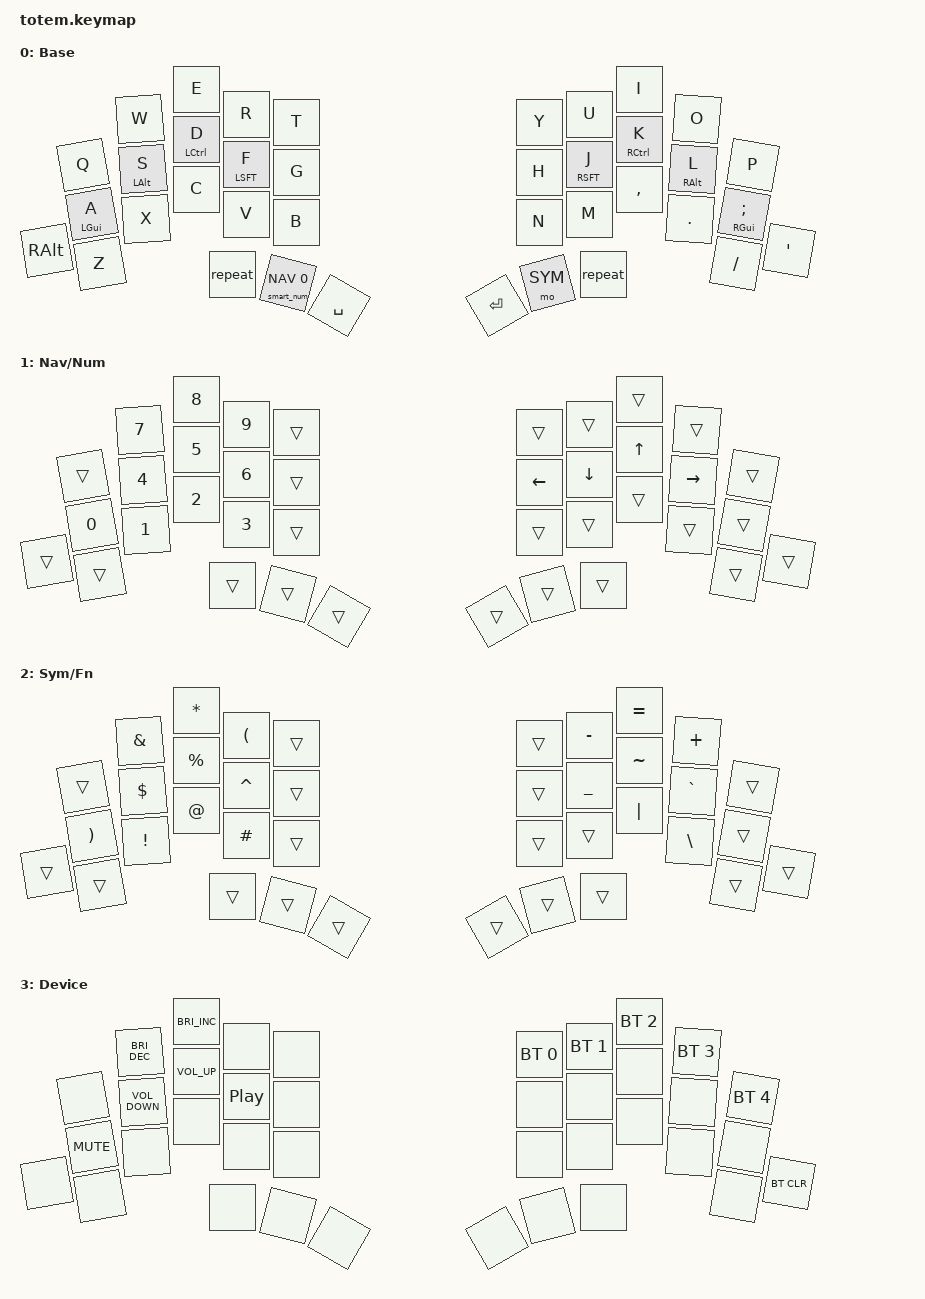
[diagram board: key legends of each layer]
//
//                                                        ▀▀▀▀▀     ▀▀▀▀▀          ▀▀█▀▀
//                                                        ▄▀▀▀▄  ▄  ▄▀▀▀▄  ▄  ▄▀▀▀▄  █  ▄▀▀▀▄
//                                                        █   █  █  █   █  █  █   █  █  █   █
//                                                         ▀▀▀   █   ▀▀▀   █   ▀▀▀   ▀   ▀▀▀
//                                                               █      ▄▄▄█▄▄▄    █   █
//                                                               ▀      █  █  █     █▄█
//                                                             ▀▀▀▀▀    █  █  █      ▀
//                                                                      ▀  ▀  ▀
//
// ▄▄▄▄▄▄▄▄▄▄▄▄▄▄▄▄▄▄▄▄▄▄▄▄▄▄▄▄▄▄▄▄▄▄▄▄▄▄▄▄▄▄▄▄▄▄▄▄▄▄▄▄▄▄▄▄▄▄▄▄▄▄▄▄▄▄▄▄▄▄▄▄▄▄▄▄▄▄▄▄▄▄▄▄▄▄▄▄▄▄▄▄▄▄▄▄▄▄▄▄▄▄▄▄▄▄▄▄▄▄▄▄▄▄▄▄▄▄▄▄▄▄▄▄▄▄▄▄▄▄▄▄▄▄▄▄▄▄▄▄▄▄▄▄▄▄▄▄▄

#include <behaviors.dtsi>
#include <behaviors/num_word.dtsi>
#include <dt-bindings/zmk/bt.h>
#include <dt-bindings/zmk/keys.h>
#include <dt-bindings/zmk/hid_usage_pages.h>
#include "zmk-helpers/helper.h"
#include "totem_defs.dtsi"

// Reuse urob's mod-morph helper so the paren combos can emit < and > when
// shift is held, avoiding conflicting gt/lt combos on the same chord.
#define SIMPLE_MORPH(NAME, MOD, BINDING1, BINDING2)                            \
  ZMK_MOD_MORPH(NAME, mods = <(MOD_L##MOD | MOD_R##MOD)>;                      \
                bindings = <BINDING1>, <BINDING2>;)

SIMPLE_MORPH(lpar_lt, SFT, &kp LPAR, &kp LT)
SIMPLE_MORPH(rpar_gt, SFT, &kp RPAR, &kp GT)
ZMK_KEY_REPEAT(repeat, usage-pages = <HID_USAGE_KEY HID_USAGE_CONSUMER>;)

// Smart-Num: hold = NAV momentary | single tap = num-word (auto-deactivates on
// non-digit) | double tap = sticky NAV layer.
#define SMART_NUM &smart_num NAV 0

ZMK_HOLD_TAP(smart_num,
    flavor = "balanced";
    tapping-term-ms = <200>;
    quick-tap-ms = <QUICK_TAP_MS>;
    bindings = <&mo>, <&num_dance>;
)

ZMK_TAP_DANCE(num_dance,
    bindings = <&num_word NAV>, <&sl NAV>;
    tapping-term-ms = <200>;
)

&num_word {
    continue-list = <BSPC DEL DOT COMMA PLUS MINUS STAR FSLH EQUAL>;
};

#include "combos.dtsi"

ZMK_CONDITIONAL_LAYER(device, NAV SYM, DEV)

/ {
    keymap {
        compatible = "zmk,keymap";

        base {
            display-name = "Base";
            bindings = <
               &kp Q              &kp W              &kp E               &kp R              &kp T         &kp Y              &kp U              &kp I               &kp O              &kp P
               &hml LGUI A        &hml LALT S        &hml LCTL D         &hml LSFT F        &kp G         &kp H              &hmr RSFT J        &hmr RCTL K         &hmr RALT L        &hmr RGUI SEMI
&kp RIGHT_ALT  &kp Z              &kp X              &kp C               &kp V              &kp B         &kp N              &kp M              &kp COMMA           &kp DOT            &kp FSLH         &kp APOS
                                                     &repeat             SMART_NUM          &kp SPACE                        &kp ENTER          &mo SYM            &repeat
            >;
        };

        nav_num {
            display-name = "Nav/Num";
            bindings = <
                   &trans              &kp N7              &kp N8              &kp N9              &trans               &trans           &trans            &trans            &trans            &trans
                   &kp N0              &kp N4              &kp N5              &kp N6              &trans               &kp LEFT         &kp DOWN          &kp UP            &kp RIGHT         &trans
&trans             &trans              &kp N1              &kp N2              &kp N3              &trans               &trans           &trans            &trans            &trans            &trans            &trans
                                                      &trans            &trans            &trans            &trans            &trans            &trans
            >;
        };

        sym_func {
            display-name = "Sym/Fn";
            // Mirrors nav_num positions: each digit's slot holds its shifted symbol.
            // Right half = ASCII helpers (- _ = + ~ ` | \) for coding.
            bindings = <
                   &trans              &kp AMPS            &kp STAR            &kp LPAR            &trans               &trans           &kp MINUS         &kp EQUAL         &kp PLUS          &trans
                   &kp RPAR            &kp DLLR            &kp PRCNT           &kp CARET           &trans               &trans           &kp UNDER         &kp TILDE         &kp GRAVE         &trans
&trans             &trans              &kp EXCL            &kp AT              &kp HASH            &trans               &trans           &trans            &kp PIPE          &kp BSLH          &trans            &trans
                                                      &trans              &trans              &trans              &trans              &trans              &trans
            >;
        };

        device {
            display-name = "Device";
            bindings = <
       &none       &kp C_BRIGHTNESS_DEC  &kp C_BRIGHTNESS_INC  &none             &none    &bt BT_SEL 0  &bt BT_SEL 1  &bt BT_SEL 2  &bt BT_SEL 3  &bt BT_SEL 4
       &kp K_MUTE  &kp C_VOLUME_DOWN     &kp C_VOLUME_UP       &kp C_PLAY_PAUSE  &none    &none         &none         &none         &none         &none
&none  &none       &none                 &none                 &none             &none    &none         &none         &none         &none         &none         &bt BT_CLR
                                         &none                 &none             &none    &none         &none         &none
            >;
        };

        extra1 { status = "reserved"; };

        extra2 { status = "reserved"; };

        extra3 { status = "reserved"; };
    };

};
